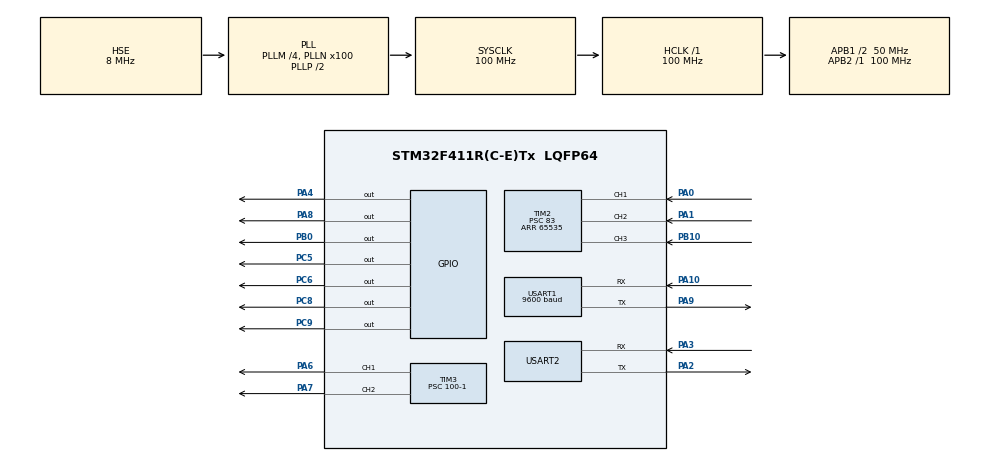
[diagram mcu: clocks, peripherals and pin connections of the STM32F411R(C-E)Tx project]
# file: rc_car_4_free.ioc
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Mcu.Family=STM32F4
Mcu.Name=STM32F411R(C-E)Tx
Mcu.Package=LQFP64
NVIC.PriorityGroup=NVIC_PRIORITYGROUP_4
NVIC.TIM2_IRQn=true\:0\:0\:false\:false\:true\:true\:true\:true
NVIC.USART1_IRQn=true\:0\:0\:false\:false\:true\:true\:true\:true
NVIC.USART2_IRQn=true\:0\:0\:false\:false\:true\:true\:true\:true
PA0-WKUP.Signal=S_TIM2_CH1_ETR
PA1.Signal=S_TIM2_CH2
PA10.Mode=Asynchronous
PA10.Signal=USART1_RX
PA13.Mode=Serial_Wire
PA13.Signal=SYS_JTMS-SWDIO
PA14.Mode=Serial_Wire
PA14.Signal=SYS_JTCK-SWCLK
PA2.Mode=Asynchronous
PA2.Signal=USART2_TX
PA3.Mode=Asynchronous
PA3.Signal=USART2_RX
PA4.Signal=GPIO_Output
PA6.Signal=S_TIM3_CH1
PA7.Signal=S_TIM3_CH2
PA8.Signal=GPIO_Output
PA9.Mode=Asynchronous
PA9.Signal=USART1_TX
PB0.Signal=GPIO_Output
PB10.Signal=S_TIM2_CH3
PC5.Signal=GPIO_Output
PC6.Signal=GPIO_Output
PC8.Signal=GPIO_Output
PC9.Signal=GPIO_Output
PH0\ -\ OSC_IN.Mode=HSE-External-Oscillator
PH0\ -\ OSC_IN.Signal=RCC_OSC_IN
PH1\ -\ OSC_OUT.Mode=HSE-External-Oscillator
PH1\ -\ OSC_OUT.Signal=RCC_OSC_OUT
ProjectManager.HeapSize=0x200
ProjectManager.StackSize=0x400
ProjectManager.TargetToolchain=STM32CubeIDE
RCC.48MHZClocksFreq_Value=50000000
RCC.AHBFreq_Value=100000000
RCC.APB1CLKDivider=RCC_HCLK_DIV2
RCC.APB1Freq_Value=50000000
RCC.APB1TimFreq_Value=100000000
RCC.APB2Freq_Value=100000000
RCC.APB2TimFreq_Value=100000000
RCC.CortexFreq_Value=100000000
RCC.HCLKFreq_Value=100000000
RCC.HSE_VALUE=8000000
RCC.HSI_VALUE=16000000
RCC.LSE_VALUE=32768
RCC.PLLM=4
RCC.PLLN=100
RCC.PLLSourceVirtual=RCC_PLLSOURCE_HSE
RCC.SYSCLKFreq_VALUE=100000000
RCC.SYSCLKSource=RCC_SYSCLKSOURCE_PLLCLK
RCC.VCOOutputFreq_Value=200000000
SH.S_TIM2_CH1_ETR.0=TIM2_CH1,Input_Capture1_from_TI1
SH.S_TIM2_CH2.0=TIM2_CH2,Input_Capture2_from_TI2
SH.S_TIM2_CH3.0=TIM2_CH3,Input_Capture3_from_TI3
SH.S_TIM3_CH1.0=TIM3_CH1,PWM Generation1 CH1
SH.S_TIM3_CH2.0=TIM3_CH2,PWM Generation2 CH2
TIM11.Prescaler=100-1
TIM2.Channel-Input_Capture1_from_TI1=TIM_CHANNEL_1
TIM2.Channel-Input_Capture2_from_TI2=TIM_CHANNEL_2
TIM2.Channel-Input_Capture3_from_TI3=TIM_CHANNEL_3
TIM2.Period=65535
TIM2.Prescaler=83
TIM3.Channel-PWM\ Generation1\ CH1=TIM_CHANNEL_1
TIM3.Channel-PWM\ Generation2\ CH2=TIM_CHANNEL_2
TIM3.Period=100-1
TIM3.Prescaler=100-1
USART1.BaudRate=9600
USART1.VirtualMode=VM_ASYNC
USART2.VirtualMode=VM_ASYNC
VP_TIM11_VS_ClockSourceINT.Mode=Enable_Timer
VP_TIM2_VS_ClockSourceINT.Mode=Internal
VP_TIM3_VS_ClockSourceINT.Mode=Internal
board=custom

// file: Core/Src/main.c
/* USER CODE BEGIN Header */
/**
  ******************************************************************************
  * @file           : main.c
  * @brief          : Ultrasonic 3 sensors (TIM2 IC) + UART2 command
  ******************************************************************************
  */
/* USER CODE END Header */
#include "main.h"
#include "tim.h"
#include "usart.h"
#include "gpio.h"

/* USER CODE BEGIN Includes */
#include "ult.h"
#include "delay.h"
#include "auto.h"
#include "mot.h"
#include <stdio.h>
/* USER CODE END Includes */

/* USER CODE BEGIN PM */
#ifdef __GNUC__
#define PUTCHAR_PROTOTYPE int __io_putchar(int ch)
#else
#define PUTCHAR_PROTOTYPE int fputc(int ch, FILE *f)
#endif

PUTCHAR_PROTOTYPE
{
  if(ch == '\n')
    HAL_UART_Transmit(&huart2, (uint8_t*)"\r", 1, 0xFFFF);
  HAL_UART_Transmit(&huart2, (uint8_t*)&ch, 1, 0xFFFF);
  return ch;
}
/* USER CODE END PM */

void SystemClock_Config(void);
/* USER CODE BEGIN PFP */

void HAL_TIM_IC_CaptureCallback(TIM_HandleTypeDef *htim)
{
    ULT_TIM_IC_CaptureCallback(htim);
}
/* USER CODE END PFP */

int main(void)
{

  /* MCU Configuration--------------------------------------------------------*/

  /* Reset of all peripherals, Initializes the Flash interface and the Systick. */
  HAL_Init();

  /* Configure the system clock */
  SystemClock_Config();

  /* Initialize all configured peripherals */
  MX_GPIO_Init();
  MX_USART2_UART_Init();
  MX_TIM3_Init();
  MX_USART1_UART_Init();
  MX_TIM2_Init();
  MX_TIM11_Init();

  /* Infinite loop */
  /* USER CODE BEGIN WHILE */
  /* USER CODE BEGIN WHILE */
  static uint8_t  trig_idx = 0;
  static uint32_t last_trig_ms = 0;

  static uint16_t d_left  = 0;
  static uint16_t d_front = 0;
  static uint16_t d_right = 0;

  static uint32_t last_print_ms = 0;

  while (1)
  {
      uint32_t now = HAL_GetTick();

      /* 1) 60ms마다 센서 1개씩만 트리거 (간섭 방지)
            - 3개면 한 바퀴 180ms 정도
            - 트랙이 빠르면 40~50ms로 줄여도 됨(간섭 생기면 다시 늘려) */
      if (now - last_trig_ms >= 80)
      {
          last_trig_ms = now;
          ULT_Trigger(trig_idx);
          trig_idx = (trig_idx + 1) % 3;   // 0:LEFT, 1:FRONT, 2:RIGHT (너 코드 기준)
      }

      /* 2) ready 된 센서만 거리 업데이트 (대기/블로킹 없음) */
      if (ULT_IsReady(0)) { d_left  = ULT_GetDistance(0); ULT_ClearReady(0); }
      if (ULT_IsReady(1)) { d_front = ULT_GetDistance(1); ULT_ClearReady(1); }
      if (ULT_IsReady(2)) { d_right = ULT_GetDistance(2); ULT_ClearReady(2); }

      /* 3) 자율주행 FSM 갱신 */
      Auto_Update(d_left, d_front, d_right);

      /* (선택) 디버그 출력: 200ms마다 거리 확인 */
      if (now - last_print_ms >= 200)
      {
          last_print_ms = now;
          printf("L:%u F:%u R:%u\r\n", d_left, d_front, d_right);
      }

    /* USER CODE END WHILE */

  }
}

void SystemClock_Config(void)
{
  RCC_OscInitTypeDef RCC_OscInitStruct = {0};
  RCC_ClkInitTypeDef RCC_ClkInitStruct = {0};

  /** Configure the main internal regulator output voltage
  */
  __HAL_RCC_PWR_CLK_ENABLE();
  __HAL_PWR_VOLTAGESCALING_CONFIG(PWR_REGULATOR_VOLTAGE_SCALE1);

  /** Initializes the RCC Oscillators according to the specified parameters
  * in the RCC_OscInitTypeDef structure.
  */
  RCC_OscInitStruct.OscillatorType = RCC_OSCILLATORTYPE_HSE;
  RCC_OscInitStruct.HSEState = RCC_HSE_ON;
  RCC_OscInitStruct.PLL.PLLState = RCC_PLL_ON;
  RCC_OscInitStruct.PLL.PLLSource = RCC_PLLSOURCE_HSE;
  RCC_OscInitStruct.PLL.PLLM = 4;
  RCC_OscInitStruct.PLL.PLLN = 100;
  RCC_OscInitStruct.PLL.PLLP = RCC_PLLP_DIV2;
  RCC_OscInitStruct.PLL.PLLQ = 4;
  if (HAL_RCC_OscConfig(&RCC_OscInitStruct) != HAL_OK)
  {
    Error_Handler();
  }

  /** Initializes the CPU, AHB and APB buses clocks
  */
  RCC_ClkInitStruct.ClockType = RCC_CLOCKTYPE_HCLK|RCC_CLOCKTYPE_SYSCLK
                              |RCC_CLOCKTYPE_PCLK1|RCC_CLOCKTYPE_PCLK2;
  RCC_ClkInitStruct.SYSCLKSource = RCC_SYSCLKSOURCE_PLLCLK;
  RCC_ClkInitStruct.AHBCLKDivider = RCC_SYSCLK_DIV1;
  RCC_ClkInitStruct.APB1CLKDivider = RCC_HCLK_DIV2;
  RCC_ClkInitStruct.APB2CLKDivider = RCC_HCLK_DIV1;

  if (HAL_RCC_ClockConfig(&RCC_ClkInitStruct, FLASH_LATENCY_3) != HAL_OK)
  {
    Error_Handler();
  }
}

void Error_Handler(void)
{
  __disable_irq();
  while (1)
  {
  }
}
